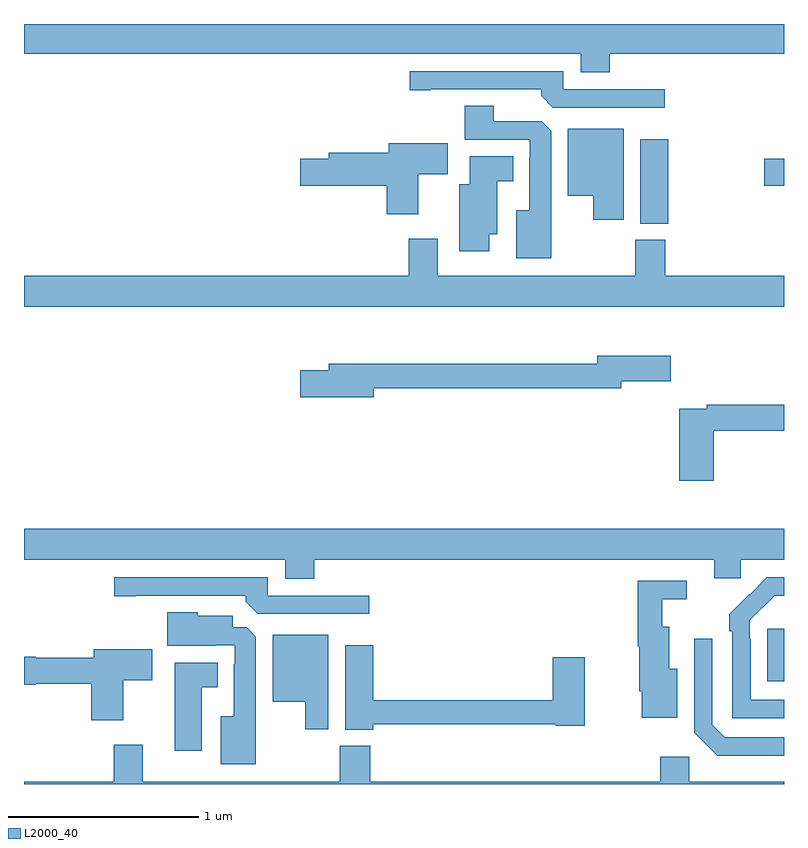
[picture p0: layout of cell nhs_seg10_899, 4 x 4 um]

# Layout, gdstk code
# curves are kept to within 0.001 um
import gdstk
lib = gdstk.Library(unit=1e-6, precision=1e-09)
def R(c, l, rs):  # rectangles x0, y0, x1, y1
    for r in rs: c.add(gdstk.rectangle(r[:2], r[2:], *l))
def P(c, l, *ps):  # polygons
    for p in ps: c.add(gdstk.Polygon(p, *l))
L2000_40 = (2000, 40)

nhs_seg10_899 = lib.new_cell('nhs_seg10_899')
R(nhs_seg10_899, L2000_40, [(160.913,1269.041,161,1269.316), (160.244,1271.449,160.391,1271.893), (160.896,1271.65,161,1271.792)])
P(nhs_seg10_899, L2000_40, [(157,1272.344),(159.929,1272.344),(159.929,1272.245),(160.082,1272.245),(160.082,1272.344),(161,1272.344),(161,1272.5),(157,1272.5)],
  [(160.372,1272.156),(159.837,1272.156),(159.837,1272.252),(159.03,1272.252),(159.03,1272.151),(159.142,1272.151),(159.142,1272.156),(159.722,1272.156),(159.722,1272.122),(159.783,1272.06),(160.372,1272.06)],
  [(159.775,1271.939),(159.726,1271.988),(159.472,1271.988),(159.472,1272.071),(159.32,1272.071),(159.32,1271.892),(159.663,1271.892),(159.663,1271.795),(159.659,1271.795),(159.659,1271.521),(159.59,1271.521),(159.59,1271.267),(159.775,1271.267)],
  [(160.156,1271.95),(159.863,1271.95),(159.863,1271.597),(159.995,1271.597),(159.995,1271.469),(160.156,1271.469)],
  [(159.076,1271.71),(159.229,1271.71),(159.229,1271.872),(158.921,1271.872),(158.921,1271.822),(158.603,1271.822),(158.603,1271.792),(158.454,1271.792),(158.454,1271.65),(158.909,1271.65),(158.909,1271.499),(159.076,1271.499)],
  [(159.448,1271.393),(159.49,1271.393),(159.49,1271.672),(159.574,1271.672),(159.574,1271.803),(159.347,1271.803),(159.347,1271.656),(159.29,1271.656),(159.29,1271.304),(159.448,1271.304)],
  [(161,1271.176),(160.376,1271.176),(160.376,1271.364),(160.216,1271.364),(160.216,1271.176),(159.178,1271.176),(159.178,1271.371),(159.026,1271.371),(159.026,1271.176),(157,1271.176),(157,1271.012),(161,1271.012)],
  [(158.842,1270.582),(160.144,1270.582),(160.144,1270.619),(160.405,1270.619),(160.405,1270.753),(160.016,1270.753),(160.016,1270.711),(158.603,1270.711),(158.603,1270.677),(158.454,1270.677),(158.454,1270.535),(158.842,1270.535)],
  [(160.631,1270.36),(161,1270.36),(161,1270.496),(160.594,1270.496),(160.594,1270.476),(160.448,1270.476),(160.448,1270.095),(160.631,1270.095)],
  [(158.528,1269.68),(160.634,1269.68),(160.634,1269.582),(160.773,1269.582),(160.773,1269.68),(161,1269.68),(161,1269.844),(157,1269.844),(157,1269.68),(158.375,1269.68),(158.375,1269.581),(158.528,1269.581)],
  [(158.818,1269.492),(158.283,1269.492),(158.283,1269.588),(157.476,1269.588),(157.476,1269.487),(157.588,1269.487),(157.588,1269.492),(158.168,1269.492),(158.168,1269.458),(158.229,1269.396),(158.818,1269.396)],
  [(161,1268.943),(160.824,1268.943),(160.824,1269.263),(160.821,1269.263),(160.821,1269.363),(160.95,1269.492),(161,1269.492),(161,1269.588),(160.91,1269.588),(160.713,1269.393),(160.713,1269.305),(160.728,1269.305),(160.728,1268.847),(161,1268.847)],
  [(160.438,1269.106),(160.396,1269.106),(160.396,1269.328),(160.36,1269.328),(160.36,1269.473),(160.489,1269.473),(160.489,1269.57),(160.231,1269.57),(160.231,1269.224),(160.238,1269.224),(160.238,1268.988),(160.25,1268.988),(160.25,1268.849),(160.438,1268.849)],
  [(158.221,1269.275),(158.172,1269.324),(158.098,1269.324),(158.098,1269.385),(157.914,1269.385),(157.914,1269.403),(157.754,1269.403),(157.754,1269.227),(158.009,1269.227),(158.009,1269.231),(158.109,1269.231),(158.109,1269.131),(158.105,1269.131),(158.105,1268.857),(158.036,1268.857),(158.036,1268.603),(158.221,1268.603)],
  [(158.602,1269.286),(158.309,1269.286),(158.309,1268.933),(158.48,1268.933),(158.48,1268.787),(158.602,1268.787)],
  [(161,1268.745),(160.689,1268.745),(160.623,1268.811),(160.623,1269.265),(160.527,1269.265),(160.527,1268.769),(160.648,1268.648),(161,1268.648)],
  [(158.837,1268.814),(159.798,1268.814),(159.798,1268.806),(159.952,1268.806),(159.952,1269.166),(159.782,1269.166),(159.782,1268.942),(158.837,1268.942),(158.837,1269.229),(158.69,1269.229),(158.69,1268.786),(158.837,1268.786)],
  [(157.522,1269.046),(157.675,1269.046),(157.675,1269.208),(157.367,1269.208),(157.367,1269.164),(157.062,1269.164),(157.062,1269.17),(157,1269.17),(157,1269.023),(157.062,1269.023),(157.062,1269.028),(157.355,1269.028),(157.355,1268.835),(157.522,1268.835)],
  [(157.936,1269.008),(158.02,1269.008),(158.02,1269.139),(157.793,1269.139),(157.793,1268.676),(157.936,1268.676)],
  [(161,1268.512),(160.5,1268.512),(160.5,1268.644),(160.349,1268.644),(160.349,1268.512),(158.822,1268.512),(158.822,1268.701),(158.662,1268.701),(158.662,1268.512),(157.624,1268.512),(157.624,1268.707),(157.472,1268.707),(157.472,1268.512),(157,1268.512),(157,1268.5),(161,1268.5)])

lib.write_gds('nhs_seg10_899.gds')
